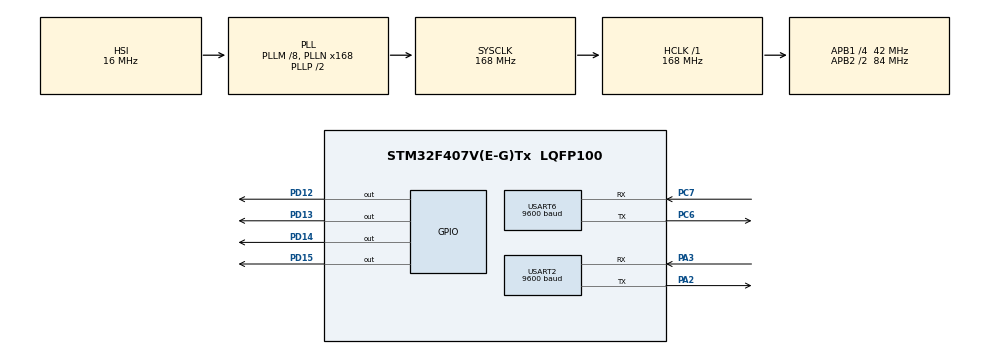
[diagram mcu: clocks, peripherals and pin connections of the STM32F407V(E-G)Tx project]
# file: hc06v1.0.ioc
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Mcu.Family=STM32F4
RCC.CortexFreq_Value=168000000
PC6.Signal=USART6_TX
RCC.APB1CLKDivider=RCC_HCLK_DIV4
USART2.BaudRate=9600
USART6.Mode=MODE_TX_RX
RCC.SYSCLKSource=RCC_SYSCLKSOURCE_PLLCLK
ProjectManager.StackSize=0x400
PD13.Signal=GPIO_Output
PA3.Mode=Asynchronous
ProjectManager.TargetToolchain=STM32CubeIDE
PC6.Mode=Asynchronous
RCC.HCLKFreq_Value=168000000
RCC.APB2TimFreq_Value=168000000
PC7.Signal=USART6_RX
RCC.LSE_VALUE=32768
RCC.AHBFreq_Value=168000000
RCC.HSE_VALUE=25000000
board=hc06_test
RCC.VCOOutputFreq_Value=336000000
RCC.APB2Freq_Value=84000000
Mcu.Name=STM32F407V(E-G)Tx
PA2.Signal=USART2_TX
PD14.Signal=GPIO_Output
RCC.48MHZClocksFreq_Value=84000000
RCC.SYSCLKFreq_VALUE=168000000
Mcu.Package=LQFP100
USART2.VirtualMode=VM_ASYNC
USART6.VirtualMode=VM_ASYNC
PD12.Signal=GPIO_Output
ProjectManager.HeapSize=0x200
USART6.BaudRate=9600
RCC.HSI_VALUE=16000000
NVIC.PriorityGroup=NVIC_PRIORITYGROUP_4
RCC.APB2CLKDivider=RCC_HCLK_DIV2
RCC.PLLM=8
RCC.PLLN=168
RCC.APB1TimFreq_Value=84000000
PA2.Mode=Asynchronous
PC7.Mode=Asynchronous
RCC.APB1Freq_Value=42000000
PD15.Signal=GPIO_Output
PA3.Signal=USART2_RX

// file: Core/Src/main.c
/**
  ******************************************************************************
  * @file           : main.c
  * @brief          : Main program body
  ******************************************************************************
  ** This notice applies to any and all portions of this file
  * that are not between comment pairs USER CODE BEGIN and
  * USER CODE END. Other portions of this file, whether
  * inserted by the user or by software development tools
  * are owned by their respective copyright owners.
  *
  * COPYRIGHT(c) 2018 STMicroelectronics
  *
  * Redistribution and use in source and binary forms, with or without modification,
  * are permitted provided that the following conditions are met:
  *   1. Redistributions of source code must retain the above copyright notice,
  *      this list of conditions and the following disclaimer.
  *   2. Redistributions in binary form must reproduce the above copyright notice,
  *      this list of conditions and the following disclaimer in the documentation
  *      and/or other materials provided with the distribution.
  *   3. Neither the name of STMicroelectronics nor the names of its contributors
  *      may be used to endorse or promote products derived from this software
  *      without specific prior written permission.
  *
  * THIS SOFTWARE IS PROVIDED BY THE COPYRIGHT HOLDERS AND CONTRIBUTORS "AS IS"
  * AND ANY EXPRESS OR IMPLIED WARRANTIES, INCLUDING, BUT NOT LIMITED TO, THE
  * IMPLIED WARRANTIES OF MERCHANTABILITY AND FITNESS FOR A PARTICULAR PURPOSE ARE
  * DISCLAIMED. IN NO EVENT SHALL THE COPYRIGHT HOLDER OR CONTRIBUTORS BE LIABLE
  * FOR ANY DIRECT, INDIRECT, INCIDENTAL, SPECIAL, EXEMPLARY, OR CONSEQUENTIAL
  * DAMAGES (INCLUDING, BUT NOT LIMITED TO, PROCUREMENT OF SUBSTITUTE GOODS OR
  * SERVICES; LOSS OF USE, DATA, OR PROFITS; OR BUSINESS INTERRUPTION) HOWEVER
  * CAUSED AND ON ANY THEORY OF LIABILITY, WHETHER IN CONTRACT, STRICT LIABILITY,
  * OR TORT (INCLUDING NEGLIGENCE OR OTHERWISE) ARISING IN ANY WAY OUT OF THE USE
  * OF THIS SOFTWARE, EVEN IF ADVISED OF THE POSSIBILITY OF SUCH DAMAGE.
  *
  ******************************************************************************
  */

/**
  ****************************************************************************
  ** This notice applies to any and all portions of this file
  * that are between comment pairs USER CODE BEGIN and USER CODE END.
 -----------------------------------------------------------------------------
* @author   : Daniel Vu		                                                  *
* @version  : v1.0                                                            *
* @ide      : STM32CubeIDE                                                    *
* @brief    : HC-06 Wireless Configuration STM32F4 code                       *
* @license  : MIT                                                             *
 -----------------------------------------------------------------------------
    This software "BluetoothModule(HC-06) v1.0" is for configuring the HC-06
		wirelessly.

		Copyright (c) 2018 Veysel Gökdemir

    Permission is hereby granted, free of charge, to any person
    obtaining a copy of this software and associated documentation
    files (the "Software"), to deal in the Software without restriction,
    including without limitation the rights to use, copy, modify, merge,
    publish, distribute, sublicense, and/or sell copies of the Software,
    and to permit persons to whom the Software is furnished to do so,
    subject to the following conditions:

    The above copyright notice and this permission notice shall be
    included in all copies or substantial portions of the Software.

    THE SOFTWARE IS PROVIDED "AS IS", WITHOUT WARRANTY OF ANY KIND,
    EXPRESS OR IMPLIED, INCLUDING BUT NOT LIMITED TO THE WARRANTIES
    OF MERCHANTABILITY, FITNESS FOR A PARTICULAR PURPOSE
    AND NONINFRINGEMENT. IN NO EVENT SHALL THE AUTHORS OR COPYRIGHT
    HOLDERS BE LIABLE FOR ANY CLAIM, DAMAGES OR OTHER LIABILITY,
    WHETHER IN AN ACTION OF CONTRACT, TORT OR OTHERWISE, ARISING
    FROM, OUT OF OR IN CONNECTION WITH THE SOFTWARE OR THE USE OR
    OTHER DEALINGS IN THE SOFTWARE.
  *****************************************************************************
*/

#include "main.h"
#include "stm32f4xx_hal.h"

/* USER CODE BEGIN Includes */
#include <stdio.h>
#include <stdbool.h>

/* USER CODE END Includes */

UART_HandleTypeDef huart2;
UART_HandleTypeDef huart6;

/* USER CODE BEGIN PV */
/* Private variables ---------------------------------------------------------*/

char rx6_buffer[50], tx6_buffer[50], rx2_buffer[50], tx2_buffer[50];
bool led_red=false, led_orange=false, led_green=false, led_blue=false;
int mode_state=0, conf_index=0;

/* USER CODE END PV */

void SystemClock_Config(void);
static void MX_GPIO_Init(void);
static void MX_USART6_UART_Init(void);
static void MX_USART2_UART_Init(void);

/* USER CODE BEGIN PFP */
/* Private function prototypes -----------------------------------------------*/

void clear_buffer()
{
	for(int i=0;i<50;i++)
	{
		//clear all buffers
		rx6_buffer[i] = 0;
		rx2_buffer[i] = 0;
		tx6_buffer[i] = 0;
		tx2_buffer[i] = 0;

	}
}

void system_reset()
{
	if(rx6_buffer[0] == 'p' || rx2_buffer[0] == 'p'){

		HAL_GPIO_WritePin(GPIOD, GPIO_PIN_13, GPIO_PIN_SET); // The orange led blinks before the stm board is reset
		HAL_Delay(200);
		HAL_NVIC_SystemReset();

	}
}

/* USER CODE END PFP */

int main(void)
{

	/* MCU Configuration----------------------------------------------------------*/

	/* Reset of all peripherals, Initializes the Flash interface and the Systick. */
	HAL_Init();

	/* Configure the system clock */
	SystemClock_Config();

	/* Initialize all configured peripherals */
	MX_GPIO_Init();
	MX_USART6_UART_Init();
	MX_USART2_UART_Init();
	/* USER CODE BEGIN 2 */

	__HAL_UART_DISABLE(&huart2);

	/* USER CODE END 2 */

	/* Infinite loop */
	/* USER CODE BEGIN WHILE */
	while (1)
	{
		system_reset(); // if something goes wrong, system can be reset by the Reset button on the interface
		// mode_state-->0:usart6 mode, 1:usart2 mode

		clear_buffer(); //clear all buffers
		switch(mode_state){

			case 0:	// USART6 mode
				HAL_UART_Receive(&huart6, (uint8_t*)rx6_buffer, 50, 500);

				if(rx6_buffer[0] == '1'){

					HAL_UART_Transmit(&huart6, (uint8_t *)tx6_buffer, sprintf(tx6_buffer, "/Use USART2 [Y/N]?"), 500);
					mode_state = 1;

				}

				if(rx6_buffer[0] == '8'){

					HAL_GPIO_WritePin(GPIOD, GPIO_PIN_12|GPIO_PIN_13|GPIO_PIN_14|GPIO_PIN_15, GPIO_PIN_SET);
					if(led_green == false || led_orange == false || led_red == false || led_blue == false)
						HAL_UART_Transmit(&huart6, (uint8_t *)tx6_buffer, sprintf(tx6_buffer, "/Received-->All LEDs are on\n\r"), 500);
					led_green = true;
					led_orange = true;
					led_red = true;
					led_blue = true;

				}
				else if(rx6_buffer[0] == '9'){

					HAL_GPIO_WritePin(GPIOD, GPIO_PIN_12|GPIO_PIN_13|GPIO_PIN_14|GPIO_PIN_15, GPIO_PIN_RESET);
					if(led_green == true || led_orange == true || led_red == true || led_blue == true)
						HAL_UART_Transmit(&huart6, (uint8_t *)tx6_buffer, sprintf(tx6_buffer, "/Received-->All LEDs are off\n\r"), 500);
					led_green = false;
					led_orange = false;
					led_red = false;
					led_blue = false;
				}
				break;

			case 1: // USART2 mode
				switch(conf_index){

				case 0:
					HAL_UART_Receive(&huart6, (uint8_t*)rx6_buffer, 50, 500);

					if(rx6_buffer[0] == 'N'){

						HAL_UART_Transmit(&huart6, (uint8_t *)tx6_buffer, sprintf(tx6_buffer, "/Returning to USART6\n\r"), 500);
						mode_state = 0;

					} else if(rx6_buffer[0] == 'Y'){
						HAL_GPIO_WritePin(GPIOD, GPIO_PIN_12|GPIO_PIN_13|GPIO_PIN_14|GPIO_PIN_15, GPIO_PIN_RESET);
						led_green = false;
						led_orange = false;
						led_red = false;
						led_blue = false;
						HAL_UART_Transmit(&huart6, (uint8_t *)tx6_buffer, sprintf(tx6_buffer, "/Opening USART2 and closing USART6\n\r"), 500); // a message is sent to the interface for closing USART6
						HAL_Delay(100);

						__HAL_UART_DISABLE(&huart6);
						__HAL_UART_ENABLE(&huart2);
						conf_index = 1;
					}
					break;
				case 1:
					HAL_Delay(50);
					HAL_UART_Receive(&huart2, (uint8_t*)rx2_buffer, 50, 500);
					if(rx2_buffer[0] == '0'){

						HAL_UART_Transmit(&huart2, (uint8_t *)tx2_buffer, sprintf(tx2_buffer, "/Opening USART6 and closing USART2\n\r"), 500); // a message is sent to the interface for closing USART2
						__HAL_UART_DISABLE(&huart2);
						__HAL_UART_ENABLE(&huart6);
						conf_index = 0;
						mode_state = 0;

					}
					if(rx2_buffer[0] == 'd'){

						HAL_GPIO_WritePin(GPIOD, GPIO_PIN_12, GPIO_PIN_SET);
						HAL_GPIO_WritePin(GPIOD, GPIO_PIN_13|GPIO_PIN_14|GPIO_PIN_15, GPIO_PIN_RESET);
						if(led_green != true)
							HAL_UART_Transmit(&huart2, (uint8_t *)tx2_buffer, sprintf(tx2_buffer, "/Received-->Green LED is on\n\r"), 500);
						led_green = true;
						led_orange = false;
						led_red = false;
						led_blue = false;

					}
					else if(rx2_buffer[0] == 's'){
						HAL_GPIO_WritePin(GPIOD, GPIO_PIN_13, GPIO_PIN_SET);
						HAL_GPIO_WritePin(GPIOD, GPIO_PIN_12|GPIO_PIN_14|GPIO_PIN_15, GPIO_PIN_RESET);
						if(led_orange != true)
							HAL_UART_Transmit(&huart2, (uint8_t *)tx2_buffer, sprintf(tx2_buffer, "/Received-->Orange LED is on\n\r"), 500);
						led_green = false;
						led_orange = true;
						led_red = false;
						led_blue = false;

					}
					else if(rx2_buffer[0] == 'a'){
						HAL_GPIO_WritePin(GPIOD, GPIO_PIN_14, GPIO_PIN_SET);
						HAL_GPIO_WritePin(GPIOD, GPIO_PIN_12|GPIO_PIN_13|GPIO_PIN_15, GPIO_PIN_RESET);
						if(led_red != true)
							HAL_UART_Transmit(&huart2, (uint8_t *)tx2_buffer, sprintf(tx2_buffer, "/Received-->Red LED is on\n\r"), 500);
						led_green = false;
						led_orange = false;
						led_red = true;
						led_blue = false;

					}
					else if(rx2_buffer[0] == 'w'){
						HAL_GPIO_WritePin(GPIOD, GPIO_PIN_15, GPIO_PIN_SET);
						HAL_GPIO_WritePin(GPIOD, GPIO_PIN_12|GPIO_PIN_13|GPIO_PIN_14, GPIO_PIN_RESET);
						if(led_blue != true)
							HAL_UART_Transmit(&huart2, (uint8_t *)tx2_buffer, sprintf(tx2_buffer, "/Received-->Blue LED is on\n\r"), 500);
						led_green = false;
						led_orange = false;
						led_red = false;
						led_blue = true;

					}
					break;
				}
				break;

		}

		/* USER CODE END WHILE */

	}

}

void _Error_Handler(char *file, int line)
{
  while(1)
  {
  }
}

void SystemClock_Config(void)
{

  RCC_OscInitTypeDef RCC_OscInitStruct;
  RCC_ClkInitTypeDef RCC_ClkInitStruct;

    /**Configure the main internal regulator output voltage
    */
  __HAL_RCC_PWR_CLK_ENABLE();

  __HAL_PWR_VOLTAGESCALING_CONFIG(PWR_REGULATOR_VOLTAGE_SCALE1);

    /**Initializes the CPU, AHB and APB busses clocks
    */
  RCC_OscInitStruct.OscillatorType = RCC_OSCILLATORTYPE_HSI;
  RCC_OscInitStruct.HSIState = RCC_HSI_ON;
  RCC_OscInitStruct.HSICalibrationValue = 16;
  RCC_OscInitStruct.PLL.PLLState = RCC_PLL_ON;
  RCC_OscInitStruct.PLL.PLLSource = RCC_PLLSOURCE_HSI;
  RCC_OscInitStruct.PLL.PLLM = 8;
  RCC_OscInitStruct.PLL.PLLN = 168;
  RCC_OscInitStruct.PLL.PLLP = RCC_PLLP_DIV2;
  RCC_OscInitStruct.PLL.PLLQ = 4;
  if (HAL_RCC_OscConfig(&RCC_OscInitStruct) != HAL_OK)
  {
    _Error_Handler(__FILE__, __LINE__);
  }

    /**Initializes the CPU, AHB and APB busses clocks
    */
  RCC_ClkInitStruct.ClockType = RCC_CLOCKTYPE_HCLK|RCC_CLOCKTYPE_SYSCLK
                              |RCC_CLOCKTYPE_PCLK1|RCC_CLOCKTYPE_PCLK2;
  RCC_ClkInitStruct.SYSCLKSource = RCC_SYSCLKSOURCE_PLLCLK;
  RCC_ClkInitStruct.AHBCLKDivider = RCC_SYSCLK_DIV1;
  RCC_ClkInitStruct.APB1CLKDivider = RCC_HCLK_DIV4;
  RCC_ClkInitStruct.APB2CLKDivider = RCC_HCLK_DIV2;

  if (HAL_RCC_ClockConfig(&RCC_ClkInitStruct, FLASH_LATENCY_5) != HAL_OK)
  {
    _Error_Handler(__FILE__, __LINE__);
  }

    /**Configure the Systick interrupt time
    */
  HAL_SYSTICK_Config(HAL_RCC_GetHCLKFreq()/1000);

    /**Configure the Systick
    */
  HAL_SYSTICK_CLKSourceConfig(SYSTICK_CLKSOURCE_HCLK);

  /* SysTick_IRQn interrupt configuration */
  HAL_NVIC_SetPriority(SysTick_IRQn, 0, 0);
}

/* USART2 init function */
static void MX_USART2_UART_Init(void)
{

  huart2.Instance = USART2;
  huart2.Init.BaudRate = 9600;
  huart2.Init.WordLength = UART_WORDLENGTH_8B;
  huart2.Init.StopBits = UART_STOPBITS_1;
  huart2.Init.Parity = UART_PARITY_NONE;
  huart2.Init.Mode = UART_MODE_TX_RX;
  huart2.Init.HwFlowCtl = UART_HWCONTROL_NONE;
  huart2.Init.OverSampling = UART_OVERSAMPLING_16;
  if (HAL_UART_Init(&huart2) != HAL_OK)
  {
    _Error_Handler(__FILE__, __LINE__);
  }

}

/* USART6 init function */
static void MX_USART6_UART_Init(void)
{

  huart6.Instance = USART6;
  huart6.Init.BaudRate = 9600;
  huart6.Init.WordLength = UART_WORDLENGTH_8B;
  huart6.Init.StopBits = UART_STOPBITS_1;
  huart6.Init.Parity = UART_PARITY_NONE;
  huart6.Init.Mode = UART_MODE_TX_RX;
  huart6.Init.HwFlowCtl = UART_HWCONTROL_NONE;
  huart6.Init.OverSampling = UART_OVERSAMPLING_16;
  if (HAL_UART_Init(&huart6) != HAL_OK)
  {
    _Error_Handler(__FILE__, __LINE__);
  }

}

/** Configure pins as
        * Analog
        * Input
        * Output
        * EVENT_OUT
        * EXTI
*/
static void MX_GPIO_Init(void)
{

  GPIO_InitTypeDef GPIO_InitStruct;

  /* GPIO Ports Clock Enable */
  __HAL_RCC_GPIOA_CLK_ENABLE();
  __HAL_RCC_GPIOD_CLK_ENABLE();
  __HAL_RCC_GPIOC_CLK_ENABLE();

  /*Configure GPIO pin Output Level */
  HAL_GPIO_WritePin(GPIOD, GPIO_PIN_12|GPIO_PIN_13|GPIO_PIN_14|GPIO_PIN_15, GPIO_PIN_RESET);

  /*Configure GPIO pins : PD12 PD13 PD14 PD15 */
  GPIO_InitStruct.Pin = GPIO_PIN_12|GPIO_PIN_13|GPIO_PIN_14|GPIO_PIN_15;
  GPIO_InitStruct.Mode = GPIO_MODE_OUTPUT_PP;
  GPIO_InitStruct.Pull = GPIO_NOPULL;
  GPIO_InitStruct.Speed = GPIO_SPEED_FREQ_LOW;
  HAL_GPIO_Init(GPIOD, &GPIO_InitStruct);

}

/************************ (C) COPYRIGHT STMicroelectronics *****END OF FILE****/
